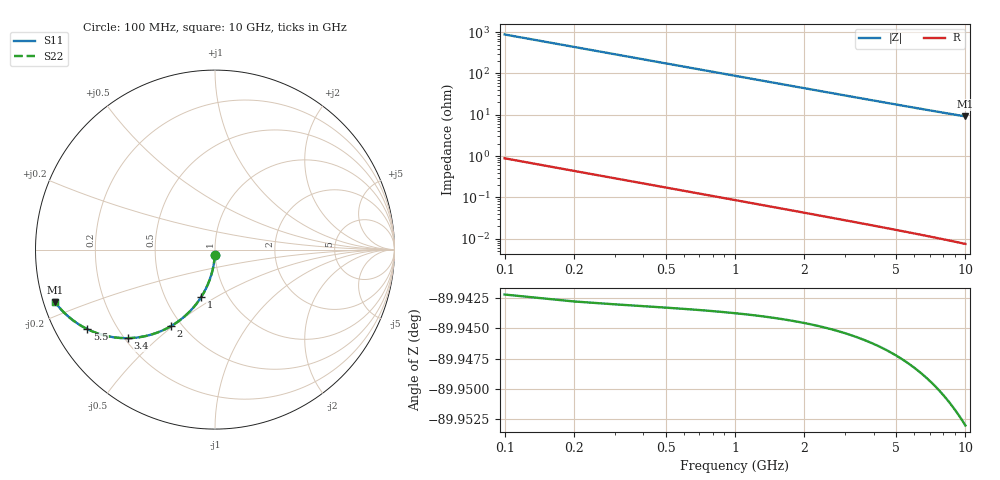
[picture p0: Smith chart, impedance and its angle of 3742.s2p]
# Hz S RI R 50.00
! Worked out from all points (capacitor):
!   100 points, 100 MHz to 10 GHz, reference 50 ohm
!   read as one part in shunt: C = 1.81 pF near 100 MHz
!   lowest |Z| = 9.12 ohm at 10 GHz (marker M1)
!   S11 on the Smith chart (normalised r, x): 100 MHz: 1.00, -0.06; 1 GHz: 0.76, -0.43; 2 GHz: 0.44, -0.49; 3.4 GHz: 0.21, -0.40; 5.5 GHz: 0.10, -0.28; 10 GHz: 0.03, -0.16
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1e8  -0.000779 -0.0283  0.9991 -0.0286  0.9991 -0.0286  -0.000779 -0.0283
2e8  -0.00323 -0.0565  0.9966 -0.0571  0.9966 -0.0571  -0.00323 -0.0565
3e8  -0.00728 -0.0843  0.9926 -0.0854  0.9926 -0.0854  -0.00728 -0.0843
4e8  -0.0129 -0.1118  0.987 -0.1132  0.987 -0.1132  -0.0129 -0.1118
5e8  -0.02 -0.1387  0.9799 -0.1405  0.9799 -0.1405  -0.02 -0.1387
6e8  -0.0285 -0.165  0.9714 -0.1671  0.9714 -0.1671  -0.0285 -0.165
7e8  -0.0384 -0.1905  0.9615 -0.193  0.9615 -0.193  -0.0384 -0.1905
8e8  -0.0495 -0.2152  0.9503 -0.218  0.9503 -0.218  -0.0495 -0.2152
1e9  -0.0752 -0.2617  0.9246 -0.2651  0.9246 -0.2651  -0.0752 -0.2617
1.2e9  -0.1048 -0.3039  0.895 -0.308  0.895 -0.308  -0.1048 -0.3039
1.4e9  -0.1375 -0.3415  0.8624 -0.3463  0.8624 -0.3463  -0.1375 -0.3415
1.8e9  -0.2085 -0.4027  0.7914 -0.4089  0.7914 -0.4089  -0.2085 -0.4027
2e9  -0.2453 -0.4264  0.7545 -0.4333  0.7545 -0.4333  -0.2453 -0.4264
2.3e9  -0.3006 -0.4541  0.6992 -0.462  0.6992 -0.462  -0.3006 -0.4541
2.7e9  -0.372 -0.4782  0.6278 -0.4875  0.6278 -0.4875  -0.372 -0.4782
3.4e9  -0.4844 -0.4934  0.5154 -0.5052  0.5154 -0.5052  -0.4844 -0.4934
4.2e9  -0.5893 -0.4841  0.4105 -0.4987  0.4105 -0.4987  -0.5893 -0.4841
5.1e9  -0.6793 -0.4573  0.3204 -0.4751  0.3204 -0.4751  -0.6793 -0.4573
5.5e9  -0.7114 -0.4429  0.2883 -0.4621  0.2883 -0.4621  -0.7114 -0.4429
6.7e9  -0.7858 -0.3978  0.2138 -0.4214  0.2138 -0.4214  -0.7858 -0.3978
8.4e9  -0.8528 -0.3385  0.1466 -0.3684  0.1466 -0.3684  -0.8528 -0.3385
1e10  -0.892 -0.2913  0.1072 -0.3273  0.1072 -0.3273  -0.892 -0.2913
